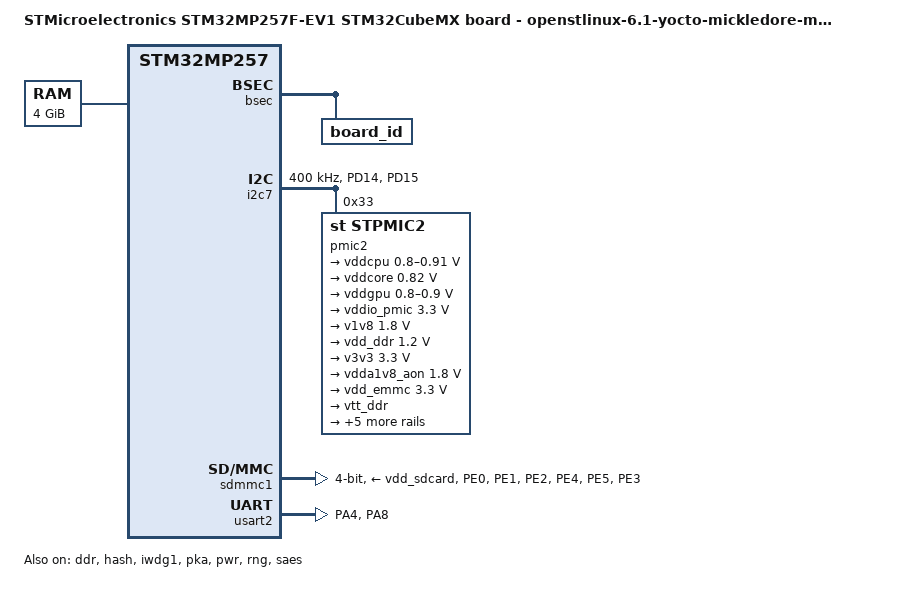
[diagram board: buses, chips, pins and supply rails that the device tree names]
// SPDX-License-Identifier: (GPL-2.0-or-later OR BSD-3-Clause)
/*
 * Copyright (C) 2024, STMicroelectronics - All Rights Reserved
 * Author: STM32CubeMX code generation for STMicroelectronics.
 */

/* For more information on Device Tree configuration, please refer to
 * https://wiki.st.com/stm32mpu/wiki/Category:Device_tree_configuration
 */

/dts-v1/;

#include <dt-bindings/pinctrl/stm32-pinfunc.h>
#include <dt-bindings/clock/stm32mp25-clksrc.h>
#include "stm32mp25-mx.dtsi"

#include "stm32mp257.dtsi"
#include "stm32mp25xf.dtsi"
#include "stm32mp257f-ev1-mx-rcc.dtsi"
#include "stm32mp25xxai-pinctrl.dtsi"
#include "stm32mp25-ddr.dtsi"

/* USER CODE BEGIN includes */
#include "stm32mp25-pinctrl.dtsi"
/* USER CODE END includes */

/ {
	model = "STMicroelectronics STM32MP257F-EV1 STM32CubeMX board - openstlinux-6.1-yocto-mickledore-mpu-v24.06.26";
	compatible = "st,stm32mp257f-ev1-mx", "st,stm32mp257f-ev1", "st,stm32mp257";

	memory@80000000 {
		device_type = "memory";
		reg = <0x0 0x80000000 0x00000001 0x00000000>;

		/* USER CODE BEGIN memory */
		/* USER CODE END memory */
	};

	/* USER CODE BEGIN root */

	aliases{
		serial0 = &usart2;
	};

	chosen{
		stdout-path = "serial0:115200n8";
	};

	shadow-prov{
		compatible = "st,provisioning";

		hconf1_prov{
			nvmem-cells = <&hconf1_otp>;
			st,shadow-value = <0x00018000>;
		};
	};
	/* USER CODE END root */

}; /*root*/

&pinctrl {
	i2c7_pins_mx: i2c7_mx-0 {
		pins {
			pinmux = <STM32_PINMUX('D', 14, AF10)>, /* I2C7_SDA */
					 <STM32_PINMUX('D', 15, AF10)>; /* I2C7_SCL */
			bias-disable;
			drive-open-drain;
			slew-rate = <0>;
		};
	};

	sdmmc1_pins_mx: sdmmc1_mx-0 {
		pins1 {
			pinmux = <STM32_PINMUX('E', 0, AF10)>, /* SDMMC1_D2 */
					 <STM32_PINMUX('E', 1, AF10)>, /* SDMMC1_D3 */
					 <STM32_PINMUX('E', 2, AF10)>, /* SDMMC1_CMD */
					 <STM32_PINMUX('E', 4, AF10)>, /* SDMMC1_D0 */
					 <STM32_PINMUX('E', 5, AF10)>; /* SDMMC1_D1 */
			bias-disable;
			drive-push-pull;
			slew-rate = <1>;
		};
		pins2 {
			pinmux = <STM32_PINMUX('E', 3, AF10)>; /* SDMMC1_CK */
			bias-disable;
			drive-push-pull;
			slew-rate = <3>;
		};
	};

	usart2_pins_mx: usart2_mx-0 {
		pins1 {
			pinmux = <STM32_PINMUX('A', 4, AF6)>; /* USART2_TX */
			bias-disable;
			drive-push-pull;
			slew-rate = <0>;
		};
		pins2 {
			pinmux = <STM32_PINMUX('A', 8, AF8)>; /* USART2_RX */
			bias-disable;
			drive-push-pull;
		};
	};

	/* USER CODE BEGIN pinctrl */
	/* USER CODE END pinctrl */
};

&pinctrl_z {
	/* USER CODE BEGIN pinctrl_z */
	/* USER CODE END pinctrl_z */
};

&bsec{
	status = "okay";

	/* USER CODE BEGIN bsec */

	board_id:board_id@3d8{
		reg = <0x3d8 0x4>;
	};
	/* USER CODE END bsec */
};

&ddr{
	status = "okay";

	/* USER CODE BEGIN ddr */
	vdd-supply = <&vdd_ddr>;
	vtt-supply = <&vtt_ddr>;
	vpp-supply = <&vpp_ddr>;
	vref-supply = <&vref_ddr>;
	/* USER CODE END ddr */
};

&hash{
	status = "okay";

	/* USER CODE BEGIN hash */
	/* USER CODE END hash */
};

&i2c7{
	pinctrl-names = "default";
	pinctrl-0 = <&i2c7_pins_mx>;
	status = "okay";

	/* USER CODE BEGIN i2c7 */
	i2c-scl-rising-time-ns = <185>;
	i2c-scl-falling-time-ns = <20>;
	clock-frequency = <400000>;
	#address-cells = <1>;
	#size-cells = <0>;

	pmic2:stpmic@33{
		compatible = "st,stpmic2";
		reg = <0x33>;
		status = "okay";

		regulators{
			compatible = "st,stpmic2-regulators";

			vddcpu:buck1{
				regulator-name = "vddcpu";
				regulator-min-microvolt = <800000>;
				regulator-max-microvolt = <910000>;
				regulator-always-on;
			};

			vddcore:buck2{
				regulator-name = "vddcore";
				regulator-min-microvolt = <820000>;
				regulator-max-microvolt = <820000>;
				regulator-always-on;
			};

			vddgpu:buck3{
				regulator-name = "vddgpu";
				regulator-min-microvolt = <800000>;
				regulator-max-microvolt = <900000>;
				regulator-always-on;
			};

			vddio_pmic:buck4{
				regulator-name = "vddio_pmic";
				regulator-min-microvolt = <3300000>;
				regulator-max-microvolt = <3300000>;
				regulator-always-on;
			};

			v1v8:buck5{
				regulator-name = "v1v8";
				regulator-min-microvolt = <1800000>;
				regulator-max-microvolt = <1800000>;
				regulator-always-on;
			};

			vdd_ddr:buck6{
				regulator-name = "vdd_ddr";
				regulator-min-microvolt = <1200000>;
				regulator-max-microvolt = <1200000>;
			};

			v3v3:buck7{
				regulator-name = "v3v3";
				regulator-min-microvolt = <3300000>;
				regulator-max-microvolt = <3300000>;
				regulator-always-on;
			};

			vdda1v8_aon:ldo1{
				regulator-name = "vdda1v8_aon";
				regulator-min-microvolt = <1800000>;
				regulator-max-microvolt = <1800000>;
				regulator-always-on;
			};

			vdd_emmc:ldo2{
				regulator-name = "vdd_emmc";
				regulator-min-microvolt = <3300000>;
				regulator-max-microvolt = <3300000>;
				regulator-always-on;
			};

			vtt_ddr:ldo3{
				regulator-name = "vtt_ddr";
				st,regulator-sink-source;
			};

			vdd3v3_usb:ldo4{
				regulator-name = "vdd3v3_usb";
				regulator-min-microvolt = <3300000>;
				regulator-max-microvolt = <3300000>;
				regulator-always-on;
			};

			vpp_ddr:ldo5{
				regulator-name = "vpp_ddr";
				regulator-min-microvolt = <2500000>;
				regulator-max-microvolt = <2500000>;
				regulator-enable-ramp-delay = <1000>;
			};

			vdd_sdcard:ldo7{
				regulator-name = "vdd_sdcard";
				regulator-min-microvolt = <3300000>;
				regulator-max-microvolt = <3300000>;
				regulator-always-on;
			};

			vddio_sdcard:ldo8{
				regulator-name = "vddio_sdcard";
				st,regulator-bypass-microvolt = <3300000>;
				regulator-min-microvolt = <1800000>;
				regulator-max-microvolt = <3300000>;
				regulator-always-on;
			};

			vref_ddr:refddr{
				regulator-name = "vref_ddr";
			};
		};
	};
	/* USER CODE END i2c7 */
};

&iwdg1{
	status = "okay";

	/* USER CODE BEGIN iwdg1 */
	timeout-sec = <32>;
	/* USER CODE END iwdg1 */
};

&pka{
	status = "okay";

	/* USER CODE BEGIN pka */
	/* USER CODE END pka */
};

&pwr{
	status = "okay";

	/* USER CODE BEGIN pwr */

	vddio1:vddio1{
		vddio1-supply = <&vddio_sdcard>;
	};

	vddio2:vddio2{
		vddio2-supply = <&v1v8>;
	};

	vddio3:vddio3{
		vddio3-supply = <&vddio_pmic>;
	};

	vddio4:vddio4{
		vddio4-supply = <&vddio_pmic>;
	};

	vddio:vddio{
		vdd-supply = <&vddio_pmic>;
	};
	/* USER CODE END pwr */
};

&rng{
	status = "okay";

	/* USER CODE BEGIN rng */
	/* USER CODE END rng */
};

&saes{
	status = "okay";

	/* USER CODE BEGIN saes */
	/* USER CODE END saes */
};

&sdmmc1{
	pinctrl-names = "default";
	pinctrl-0 = <&sdmmc1_pins_mx>;
	status = "okay";

	/* USER CODE BEGIN sdmmc1 */
	st,neg-edge;
	bus-width = <4>;
	vmmc-supply = <&vdd_sdcard>;
	vqmmc-supply = <&vddio1>;
	/* USER CODE END sdmmc1 */
};

&usart2{
	pinctrl-names = "default";
	pinctrl-0 = <&usart2_pins_mx>;
	status = "okay";

	/* USER CODE BEGIN usart2 */
	/* USER CODE END usart2 */
};

/* USER CODE BEGIN addons */
/* USER CODE END addons */

